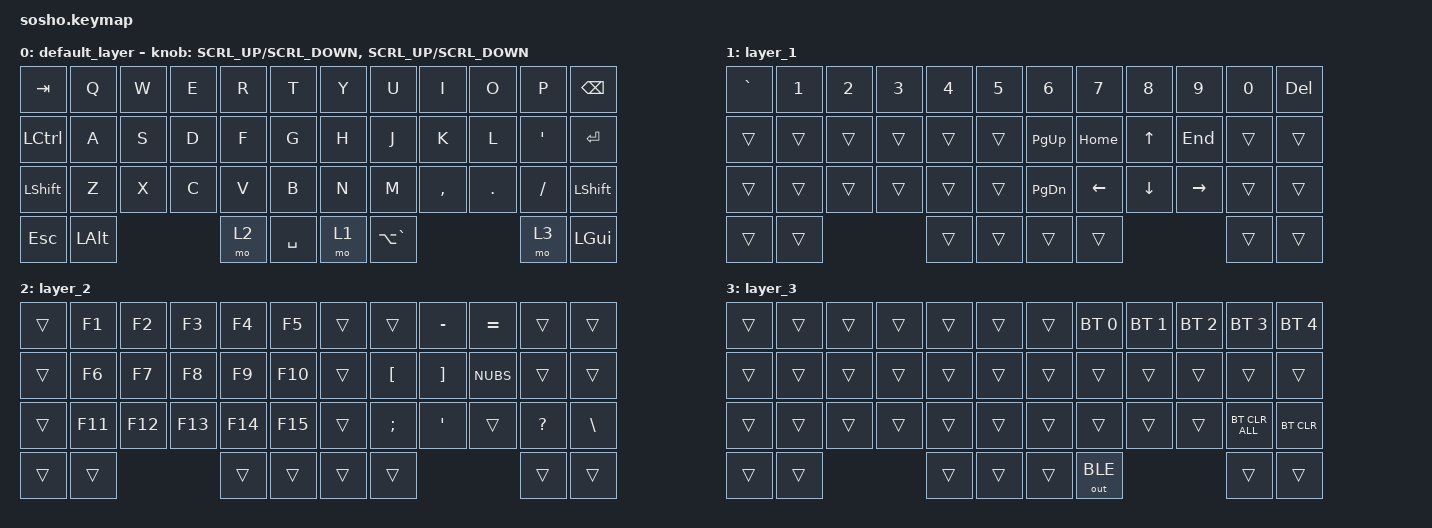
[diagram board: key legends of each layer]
//スクロール量の調整(デフォルト150)
// 初速を遅くしたい場合は、この値を小さくしてください（例：80, 100）
#define ZMK_POINTING_DEFAULT_SCRL_VAL 150

#include <behaviors.dtsi>
#include <dt-bindings/zmk/bt.h>
#include <dt-bindings/zmk/keys.h>
#include <dt-bindings/zmk/outputs.h>
#include <dt-bindings/zmk/pointing.h>

/ {
	behaviors {
		//エンコーダにスクロールを割り当てるためのビヘイビア
		msc_ec_l: sensor_rotation_scroll_L {
	        compatible = "zmk,behavior-sensor-rotate-var";
            #sensor-binding-cells = <2>;
            bindings = <&msc>, <&msc>;
			tap-ms = <20>;
        };
		msc_ec_r: sensor_rotation_scroll_R {
	        compatible = "zmk,behavior-sensor-rotate-var";
            #sensor-binding-cells = <2>;
            bindings = <&msc>, <&msc>;
			tap-ms = <20>;
        };
	};
};

//スクロールの調整
&msc {
    // 初速を遅くしたい場合：time-to-max-speed-ms を増やす（例：0→100, 200ms）
    // そうすると加速時間が長くなり、初速が遅くなります
    time-to-max-speed-ms = <300>;   // 即座に最大速度（加速なし）
    // acceleration-exponent を正の値にすると、初速が遅く最後に加速します
    acceleration-exponent = <0>;   // 加速なし（0は加速なし）
};

/{
keymap {
    compatible = "zmk,keymap";

    default_layer {
        bindings = <
            &kp TAB    &kp Q   &kp W  &kp E  &kp R  &kp T      &kp Y  &kp U  &kp I      &kp O    &kp P     &kp BSPC
            &kp LCTRL  &kp A   &kp S  &kp D  &kp F  &kp G      &kp H  &kp J  &kp K      &kp L    &kp SQT   &kp ENTER
            &kp LSHFT  &kp Z   &kp X  &kp C  &kp V  &kp B      &kp N  &kp M  &kp COMMA  &kp DOT  &kp SLASH &kp LSHFT
            &kp ESC    &kp LALT              &mo 2  &kp SPACE  &mo 1  &kp LA(GRAVE)              &mo 3     &kp LGUI
        >;
		//&msc_ec_lとrは、上のビヘイビアで作ったもの。
        sensor-bindings = <&msc_ec_l SCRL_UP SCRL_DOWN &msc_ec_r SCRL_UP SCRL_DOWN>;
    };

    layer_1 {
        bindings = <
            &kp GRAVE &kp N1  &kp N2  &kp N3  &kp N4  &kp N5       &kp N6    &kp N7   &kp N8   &kp N9    &kp N0 &kp DEL
            &trans    &trans &trans &trans &trans &trans           &kp PG_UP &kp HOME &kp UP   &kp END   &trans &trans
            &trans    &trans &trans &trans &trans &trans           &kp PG_DN &kp LEFT &kp DOWN &kp RIGHT &trans &trans
            &trans    &trans               &trans &trans           &trans    &trans                      &trans &trans
        >;
    };

    layer_2 {
        bindings = <
            &trans &kp F1  &kp F2  &kp F3  &kp F4  &kp F5     &trans  &trans    &kp MINUS &kp EQUAL &trans     &trans
            &trans &kp F6  &kp F7  &kp F8  &kp F9  &kp F10    &trans  &kp LBKT  &kp RBKT  &kp NUBS  &trans     &trans
            &trans &kp F11 &kp F12 &kp F13 &kp F14 &kp F15    &trans  &kp SEMI  &kp SQT   &trans    &kp QMARK  &kp BSLH
            &trans &trans                  &trans  &trans     &trans  &trans                        &trans     &trans
        >;
    };

    layer_3 {
        bindings = <
            &trans &trans &trans &trans &trans &trans      &trans  &bt BT_SEL 0  &bt BT_SEL 1  &bt BT_SEL 2  &bt BT_SEL 3   &bt BT_SEL 4
            &trans &trans &trans &trans &trans &trans      &trans  &trans        &trans        &trans        &trans         &trans
            &trans &trans &trans &trans &trans &trans      &trans  &trans        &trans        &trans        &bt BT_CLR_ALL &bt BT_CLR
            &trans &trans               &trans &trans      &trans  &out OUT_BLE                                    &trans         &trans
        >;
    };
    scroll {
        status = "reserved";
    };

    extra2 {
        status = "reserved";
    };
};
};
